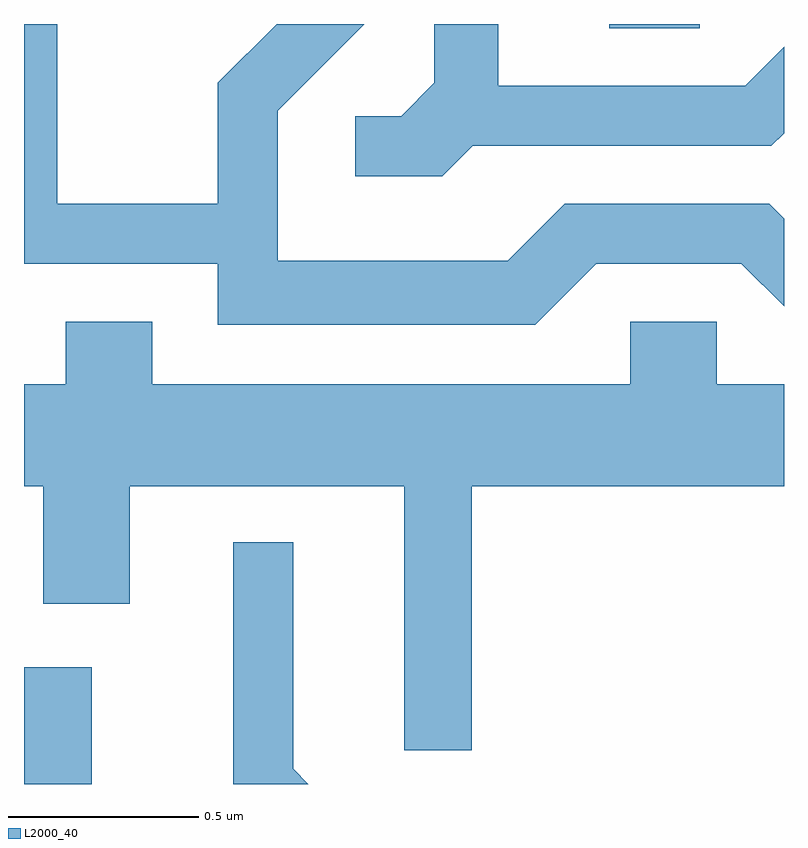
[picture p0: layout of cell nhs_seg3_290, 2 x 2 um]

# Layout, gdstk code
import gdstk
lib = gdstk.Library(unit=1e-6, precision=1e-09)
def R(c, l, rs):  # rectangles x0, y0, x1, y1
    for r in rs: c.add(gdstk.rectangle(r[:2], r[2:], *l))
def P(c, l, *ps):  # polygons
    for p in ps: c.add(gdstk.Polygon(p, *l))
L2000_40 = (2000, 40)

nhs_seg3_290 = lib.new_cell('nhs_seg3_290')
R(nhs_seg3_290, L2000_40, [(187.611,1131.892,187.789,1132.199), (189.151,1133.881,189.389,1133.892)])
P(nhs_seg3_290, L2000_40, [(189.117,1133.261),(189.499,1133.261),(189.611,1133.149),(189.611,1133.38),(189.572,1133.419),(189.034,1133.419),(188.884,1133.269),(188.279,1133.269),(188.279,1133.664),(188.507,1133.892),(188.276,1133.892),(188.121,1133.737),(188.121,1133.419),(187.699,1133.419),(187.699,1133.892),(187.611,1133.892),(187.611,1133.261),(188.121,1133.261),(188.121,1133.101),(188.957,1133.101)],
  [(188.792,1133.571),(189.577,1133.571),(189.611,1133.605),(189.611,1133.832),(189.509,1133.729),(188.859,1133.729),(188.859,1133.892),(188.691,1133.892),(188.691,1133.737),(188.604,1133.649),(188.483,1133.649),(188.483,1133.491),(188.712,1133.491)],
  [(188.789,1132.676),(189.611,1132.676),(189.611,1132.944),(189.434,1132.944),(189.434,1133.109),(189.206,1133.109),(189.206,1132.944),(187.949,1132.944),(187.949,1133.109),(187.721,1133.109),(187.721,1132.944),(187.611,1132.944),(187.611,1132.676),(187.661,1132.676),(187.661,1132.366),(187.889,1132.366),(187.889,1132.676),(188.611,1132.676),(188.611,1131.981),(188.789,1131.981)],
  [(188.319,1131.932),(188.319,1132.528),(188.161,1132.528),(188.161,1131.892),(188.359,1131.892)])

lib.write_gds('nhs_seg3_290.gds')
